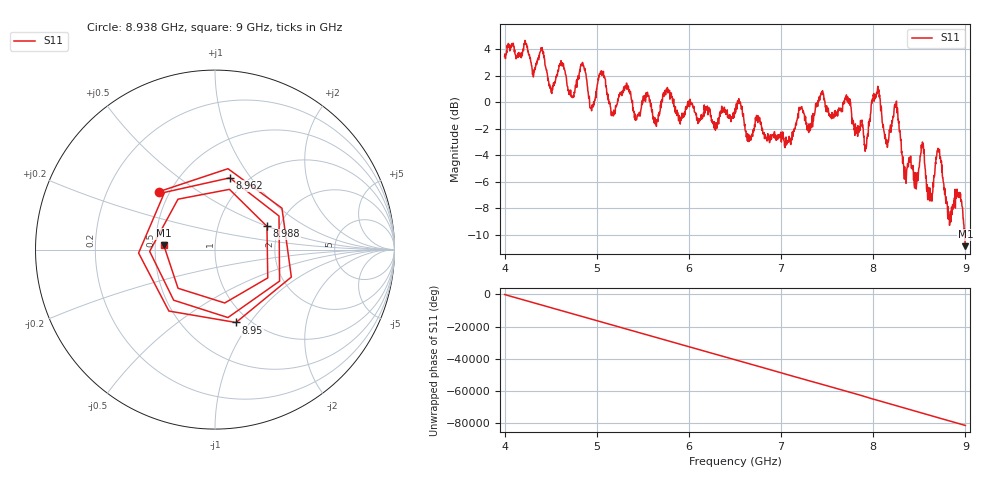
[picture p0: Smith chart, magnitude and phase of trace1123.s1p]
! Created with skrf 1.8.0 (http://scikit-rf.org).
# Hz S RI R 50.0
!freq ReS11 ImS11
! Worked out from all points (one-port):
!   1601 points, 4 GHz to 9 GHz, reference 50 ohm
!   lowest |S11| = -10.9 dB at 9 GHz (marker M1), VSWR 1.80, Z = 27.8 + j1.51 ohm
!   |S11| at or under -10 dB: 8.99263 GHz to end of sweep
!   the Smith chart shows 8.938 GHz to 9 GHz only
!   S11 on the Smith chart (normalised r, x): 8.938 GHz: 0.44, +0.35; 8.95 GHz: 0.87, -0.86; 8.962 GHz: 0.83, +0.80; 8.988 GHz: 1.72, +0.50; 9 GHz: 0.56, +0.03
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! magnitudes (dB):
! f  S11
! 4 GHz  3.5
! 4.509 GHz  0.8
! 4.625 GHz  2.7
! 4.734 GHz  0.4
! 4.853 GHz  2.8
! 4.947 GHz  -0.2
! 5.047 GHz  2.1
! 5.175 GHz  -1.0
! 5.25 GHz  0.6
! 5.875 GHz  -0.8
! 6.5 GHz  -0.8
! 7.125 GHz  -2.6
! 7.438 GHz  0.7
! 7.75 GHz  -0.2
! 7.919 GHz  -3.3
! 8.038 GHz  0.7
! 8.144 GHz  -2.8
! 8.247 GHz  -0.3
! 8.375 GHz  -4.6
! 8.534 GHz  -3.0
! 8.616 GHz  -6.5
! 8.706 GHz  -3.6
! 8.822 GHz  -8.8
! 8.938 GHz  -7.0
! 8.95 GHz  -7.5
! 8.962 GHz  -7.8
! 8.988 GHz  -10.0
! 9 GHz  -10.9
